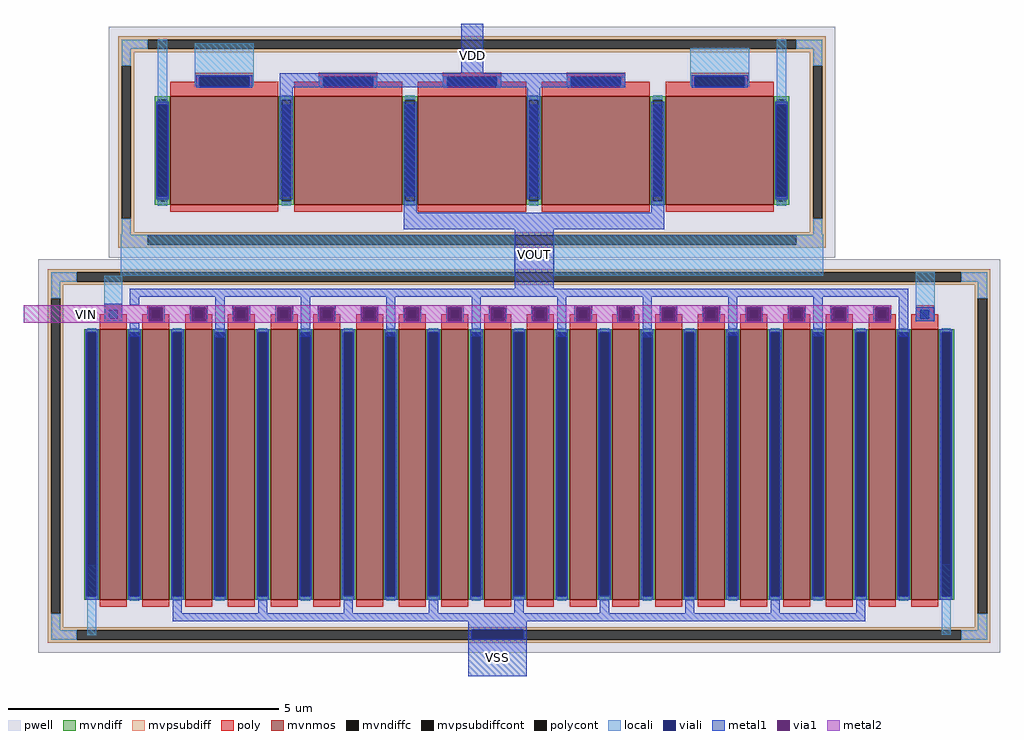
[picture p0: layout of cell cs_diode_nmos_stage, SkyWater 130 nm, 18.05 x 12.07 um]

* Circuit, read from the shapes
.subckt cs_diode_nmos_stage VDD VSS VIN VOUT
XM1 n1 VSS VSS VSS sky130_fd_pr__nfet_g5v0d10v5 w=5 l=0.5
XM2 VSS VIN n1 VSS sky130_fd_pr__nfet_g5v0d10v5 w=5 l=0.5
XM3 VDD VSS VSS VSS sky130_fd_pr__nfet_g5v0d10v5 w=2 l=2
XM4 VOUT VIN VSS VSS sky130_fd_pr__nfet_g5v0d10v5 w=5 l=0.5 m=17
XM5 VOUT VDD VDD VSS sky130_fd_pr__nfet_g5v0d10v5 w=2 l=2 m=3
XM6 VSS VSS VOUT VSS sky130_fd_pr__nfet_g5v0d10v5 w=2 l=2
XM7 VSS VSS VOUT VSS sky130_fd_pr__nfet_g5v0d10v5 w=5 l=0.5
.ends

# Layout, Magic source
magic
tech sky130A
magscale 1 2
<< locali >>
rect 116 126 152 740
rect 254 568 472 728
rect 2086 568 2304 710
rect 2406 126 2442 740
rect -20 -132 1438 20
rect 1582 -132 2578 20
rect -82 -300 -14 -132
rect 2920 -298 2990 -120
rect -144 -1462 -110 -1202
rect 3016 -1460 3050 -1200
<< viali >>
rect 1278 -1476 1470 -1442
<< metal1 >>
rect 1240 616 1320 800
rect 568 564 1846 616
rect 568 150 616 564
rect 1240 563 1320 564
rect 1026 100 1074 512
rect 1484 150 1532 564
rect 1942 100 1990 512
rect 1026 40 1990 100
rect 1438 -180 1582 40
rect 14 -210 2892 -180
rect -80 -300 -14 -236
rect 14 -242 48 -210
rect 84 -248 142 -242
rect 136 -300 142 -248
rect 84 -306 142 -300
rect 236 -248 300 -242
rect 236 -300 242 -248
rect 294 -300 300 -248
rect 236 -306 300 -300
rect 14 -358 48 -306
rect 330 -360 364 -210
rect 394 -248 458 -242
rect 394 -300 400 -248
rect 452 -300 458 -248
rect 394 -306 458 -300
rect 552 -248 616 -242
rect 552 -300 558 -248
rect 610 -300 616 -248
rect 552 -306 616 -300
rect 646 -358 680 -210
rect 710 -248 774 -242
rect 710 -300 716 -248
rect 768 -300 774 -248
rect 710 -306 774 -300
rect 868 -248 932 -242
rect 868 -300 874 -248
rect 926 -300 932 -248
rect 868 -306 932 -300
rect 962 -356 996 -210
rect 1026 -248 1090 -242
rect 1026 -300 1032 -248
rect 1084 -300 1090 -248
rect 1026 -306 1090 -300
rect 1184 -248 1248 -242
rect 1184 -300 1190 -248
rect 1242 -300 1248 -248
rect 1184 -306 1248 -300
rect 1278 -356 1312 -210
rect 1342 -248 1406 -242
rect 1342 -300 1348 -248
rect 1400 -300 1406 -248
rect 1342 -306 1406 -300
rect 1500 -248 1564 -242
rect 1500 -300 1506 -248
rect 1558 -300 1564 -248
rect 1500 -306 1564 -300
rect 1594 -358 1628 -210
rect 1658 -248 1722 -242
rect 1658 -300 1664 -248
rect 1716 -300 1722 -248
rect 1658 -306 1722 -300
rect 1816 -248 1880 -242
rect 1816 -300 1822 -248
rect 1874 -300 1880 -248
rect 1816 -306 1880 -300
rect 1910 -360 1944 -210
rect 1974 -248 2038 -242
rect 1974 -300 1980 -248
rect 2032 -300 2038 -248
rect 1974 -306 2038 -300
rect 2132 -248 2196 -242
rect 2132 -300 2138 -248
rect 2190 -300 2196 -248
rect 2132 -306 2196 -300
rect 2226 -354 2260 -210
rect 2290 -248 2354 -242
rect 2290 -300 2296 -248
rect 2348 -300 2354 -248
rect 2290 -306 2354 -300
rect 2448 -248 2512 -242
rect 2448 -300 2454 -248
rect 2506 -300 2512 -248
rect 2448 -306 2512 -300
rect 2542 -356 2576 -210
rect 2606 -248 2670 -242
rect 2606 -300 2612 -248
rect 2664 -300 2670 -248
rect 2606 -306 2670 -300
rect 2764 -248 2828 -242
rect 2764 -300 2770 -248
rect 2822 -300 2828 -248
rect 2764 -306 2828 -300
rect 2858 -358 2892 -210
rect 2920 -300 2988 -248
rect 172 -1380 206 -1326
rect 488 -1380 522 -1318
rect 804 -1380 838 -1316
rect 1120 -1380 1154 -1316
rect 1436 -1380 1470 -1314
rect 1752 -1380 1786 -1316
rect 2068 -1380 2102 -1318
rect 2384 -1380 2418 -1318
rect 2700 -1380 2734 -1318
rect 172 -1410 2734 -1380
rect 1266 -1442 1482 -1410
rect 1266 -1476 1278 -1442
rect 1470 -1476 1482 -1442
rect 1266 -1614 1482 -1476
<< via1 >>
rect 84 -300 136 -248
rect 242 -300 294 -248
rect 400 -300 452 -248
rect 558 -300 610 -248
rect 716 -300 768 -248
rect 874 -300 926 -248
rect 1032 -300 1084 -248
rect 1190 -300 1242 -248
rect 1348 -300 1400 -248
rect 1506 -300 1558 -248
rect 1664 -300 1716 -248
rect 1822 -300 1874 -248
rect 1980 -300 2032 -248
rect 2138 -300 2190 -248
rect 2296 -300 2348 -248
rect 2454 -300 2506 -248
rect 2612 -300 2664 -248
rect 2770 -300 2822 -248
<< metal2 >>
rect -378 -248 2828 -242
rect -378 -300 84 -248
rect 136 -300 242 -248
rect 294 -300 400 -248
rect 452 -300 558 -248
rect 610 -300 716 -248
rect 768 -300 874 -248
rect 926 -300 1032 -248
rect 1084 -300 1190 -248
rect 1242 -300 1348 -248
rect 1400 -300 1506 -248
rect 1558 -300 1664 -248
rect 1716 -300 1822 -248
rect 1874 -300 1980 -248
rect 2032 -300 2138 -248
rect 2190 -300 2296 -248
rect 2348 -300 2454 -248
rect 2506 -300 2612 -248
rect 2664 -300 2770 -248
rect 2822 -300 2828 -248
rect -378 -306 2828 -300
use sky130_fd_pr__nfet_g5v0d10v5_MQ566X  sky130_fd_pr__nfet_g5v0d10v5_MQ566X_0
transform 1 0 1453 0 1 -799
box -1779 -727 1779 727
use sky130_fd_pr__nfet_g5v0d10v5_QWVZXL  sky130_fd_pr__nfet_g5v0d10v5_QWVZXL_0
transform 1 0 1279 0 1 362
box -1344 -427 1344 427
<< labels >>
flabel metal1 1240 563 1320 800 0 FreeSans 1600 0 0 0 VDD
port 1 nsew
flabel metal1 1266 -1614 1482 -1476 0 FreeSans 1600 0 0 0 VSS
port 3 nsew
flabel metal2 -378 -306 84 -242 0 FreeSans 1600 0 0 0 VIN
port 5 nsew
flabel metal1 1438 -210 1582 100 0 FreeSans 1600 0 0 0 VOUT
port 7 nsew
<< end >>

# cell sky130_fd_pr__nfet_g5v0d10v5_MQ566X: kit device sky130_fd_pr__nfet_g5v0d10v5, w 5 l 0.5 m 1 nf 20 diffcov 100 polycov 50 guard 1 glc 1 grc 1 gtc 1 gbc 1 tbcov 100 rlcov 100 topc 1 botc 0 poverlap 0 doverlap 1 lmin 0.50 wmin 0.42 compatible {sky130_fd_pr__nfet_01v8 sky130_fd_pr__nfet_01v8_lvt sky130_fd_bs_flash__special_sonosfet_star sky130_fd_pr__nfet_g5v0d10v5 sky130_fd_pr__nfet_05v0_nvt sky130_fd_pr__nfet_03v3_nvt} full_metal 1 viasrc 100 viadrn 100 viagate 50 viagb 0 viagr 0 viagl 0 viagt 0

# cell sky130_fd_pr__nfet_g5v0d10v5_QWVZXL: kit device sky130_fd_pr__nfet_g5v0d10v5, w 2 l 2 m 1 nf 5 diffcov 100 polycov 50 guard 1 glc 1 grc 1 gtc 1 gbc 1 tbcov 100 rlcov 100 topc 1 botc 0 poverlap 0 doverlap 1 lmin 0.50 wmin 0.42 compatible {sky130_fd_pr__nfet_01v8 sky130_fd_pr__nfet_01v8_lvt sky130_fd_bs_flash__special_sonosfet_star sky130_fd_pr__nfet_g5v0d10v5 sky130_fd_pr__nfet_05v0_nvt sky130_fd_pr__nfet_03v3_nvt} full_metal 1 viasrc 90 viadrn 90 viagate 50 viagb 0 viagr 0 viagl 0 viagt 0
